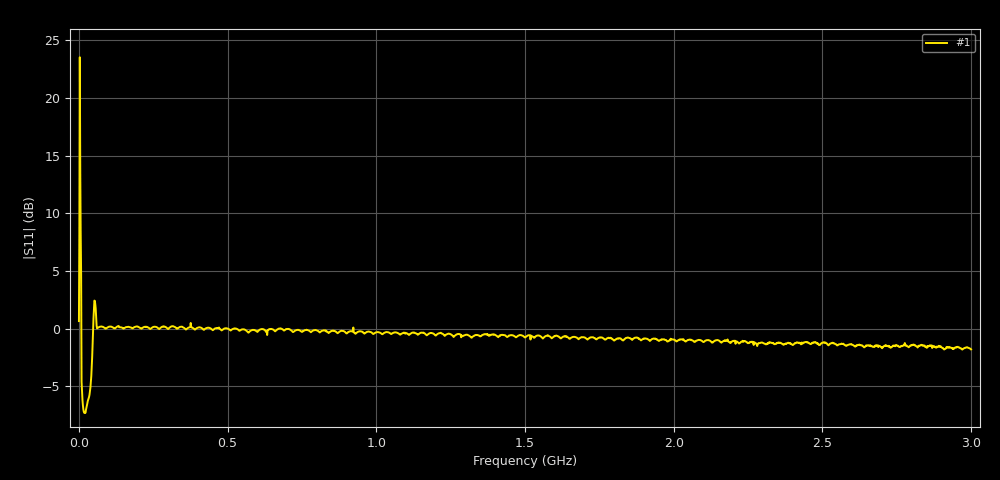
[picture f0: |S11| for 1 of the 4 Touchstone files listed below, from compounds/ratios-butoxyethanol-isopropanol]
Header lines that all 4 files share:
# HZ S RI R 50
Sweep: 10 kHz to 3 GHz
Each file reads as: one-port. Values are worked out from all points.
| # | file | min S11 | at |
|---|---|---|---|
| 1 | 2-Butoxyethanol.s1p | -7.3 dB | 19.33 MHz |
| 2 | 50-50.s1p | -7.3 dB | 19.33 MHz |
| 3 | 75-propanol-25-butoxy.s1p | -7.3 dB | 19.33 MHz |
| 4 | propan-2-ol.s1p | -7.3 dB | 19.33 MHz |
